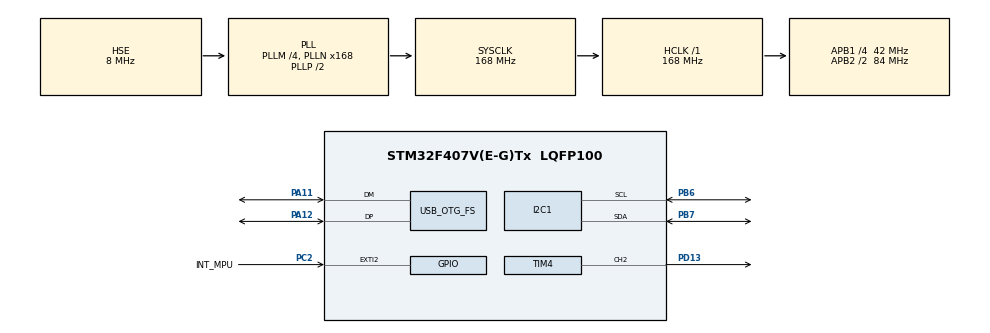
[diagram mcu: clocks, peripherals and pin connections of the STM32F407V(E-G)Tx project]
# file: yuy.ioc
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Dma.I2C1_RX.0.Direction=DMA_PERIPH_TO_MEMORY
Dma.I2C1_RX.0.FIFOMode=DMA_FIFOMODE_DISABLE
Dma.I2C1_RX.0.Instance=DMA1_Stream5
Dma.I2C1_RX.0.MemDataAlignment=DMA_MDATAALIGN_BYTE
Dma.I2C1_RX.0.MemInc=DMA_MINC_ENABLE
Dma.I2C1_RX.0.Mode=DMA_NORMAL
Dma.I2C1_RX.0.PeriphDataAlignment=DMA_PDATAALIGN_BYTE
Dma.I2C1_RX.0.PeriphInc=DMA_PINC_DISABLE
Dma.I2C1_RX.0.Priority=DMA_PRIORITY_HIGH
Dma.Request0=I2C1_RX
Mcu.Family=STM32F4
Mcu.Name=STM32F407V(E-G)Tx
Mcu.Package=LQFP100
NVIC.DMA1_Stream5_IRQn=true\:0\:0\:false\:false\:true\:false\:true\:true
NVIC.EXTI2_IRQn=true\:0\:0\:false\:false\:true\:true\:true\:true
NVIC.OTG_FS_IRQn=true\:0\:0\:false\:false\:true\:false\:true\:true
NVIC.PriorityGroup=NVIC_PRIORITYGROUP_0
PA11.Mode=Device_Only
PA11.Signal=USB_OTG_FS_DM
PA12.Mode=Device_Only
PA12.Signal=USB_OTG_FS_DP
PB6.Mode=I2C
PB6.Signal=I2C1_SCL
PB7.Mode=I2C
PB7.Signal=I2C1_SDA
PC2.GPIO_Label=INT_MPU
PC2.Signal=GPXTI2
PD13.Signal=S_TIM4_CH2
PH0-OSC_IN.Mode=HSE-External-Oscillator
PH0-OSC_IN.Signal=RCC_OSC_IN
PH1-OSC_OUT.Mode=HSE-External-Oscillator
PH1-OSC_OUT.Signal=RCC_OSC_OUT
ProjectManager.HeapSize=0x200
ProjectManager.StackSize=0x400
ProjectManager.TargetToolchain=STM32CubeIDE
RCC.48MHZClocksFreq_Value=48000000
RCC.AHBFreq_Value=168000000
RCC.APB1CLKDivider=RCC_HCLK_DIV4
RCC.APB1Freq_Value=42000000
RCC.APB1TimFreq_Value=84000000
RCC.APB2CLKDivider=RCC_HCLK_DIV2
RCC.APB2Freq_Value=84000000
RCC.APB2TimFreq_Value=168000000
RCC.CortexFreq_Value=168000000
RCC.HCLKFreq_Value=168000000
RCC.HSE_VALUE=8000000
RCC.HSI_VALUE=16000000
RCC.LSE_VALUE=32768
RCC.PLLM=4
RCC.PLLN=168
RCC.PLLQ=7
RCC.SYSCLKFreq_VALUE=168000000
RCC.SYSCLKSource=RCC_SYSCLKSOURCE_PLLCLK
RCC.VCOOutputFreq_Value=336000000
SH.S_TIM4_CH2.0=TIM4_CH2,PWM Generation2 CH2
TIM4.Channel-PWM\ Generation2\ CH2=TIM_CHANNEL_2
TIM4.Period=1000-1
TIM4.Prescaler=84-1
USB_DEVICE.CLASS_NAME_FS=CDC
USB_DEVICE.VirtualMode-CDC_FS=Cdc
USB_DEVICE.VirtualModeFS=Cdc_FS
USB_OTG_FS.VirtualMode=Device_Only
VP_TIM4_VS_ClockSourceINT.Mode=Internal
VP_USB_DEVICE_VS_USB_DEVICE_CDC_FS.Mode=CDC_FS
board=STM32F407G-DISC1

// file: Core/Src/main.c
/* USER CODE BEGIN Header */
/**
  ******************************************************************************
  * @file           : main.c
  * @brief          : Main program body
  ******************************************************************************
  * @attention
  *
  * Copyright (c) 2024 STMicroelectronics.
  * All rights reserved.
  *
  * This software is licensed under terms that can be found in the LICENSE file
  * in the root directory of this software component.
  * If no LICENSE file comes with this software, it is provided AS-IS.
  *
  ******************************************************************************
  */
/* USER CODE END Header */
#include "main.h"
#include "usb_device.h"

/* USER CODE BEGIN Includes */
#include "string.h"
#include <stdio.h>
#include <stdlib.h>
#include "usbd_cdc_if.h"
#include "mpu6050.h"
#include "filter.h"
/* USER CODE END Includes */

I2C_HandleTypeDef hi2c1;
DMA_HandleTypeDef hdma_i2c1_rx;

TIM_HandleTypeDef htim4;

/* USER CODE BEGIN PV */
LPFilter_t lpf_acc;
FIRFilter_t firAcc;
FIRFilter_t mvAvg;
MPU6050_t accelerometer;
//FIRFilter_t fir_filt;
//FIRFilter_t mv_avg;

/* USER CODE END PV */

void SystemClock_Config(void);
static void MX_GPIO_Init(void);
static void MX_DMA_Init(void);
static void MX_I2C1_Init(void);
static void MX_TIM4_Init(void);

/* USER CODE BEGIN 0 */

// Handle int pin going high (data ready / conversion complete
//void I2Cx_IRQHandler(void) {
//	HAL_I2C_EV_IRQHandler(&hi2c1);
//	HAL_I2C_ER_IRQHandler(&hi2c1);
//}

char buffer[128];

void HAL_GPIO_EXTI_Callback(uint16_t GPIO_Pin) {
		if (GPIO_Pin == INT_MPU_Pin) {
			mpu6050_read_accel_dma(&hi2c1, &accelerometer);
	}
}

// handle dma complete inturrept
void HAL_I2C_MemRxCpltCallback(I2C_HandleTypeDef *hi2c)
{
    if (hi2c->Instance == I2C1) {
    	mpu6050_read_accel_dma_complete(&hi2c1, &accelerometer);
//    	mpu6050_process_after_filter(&hi2c1, &accelerometer); // conversion to g's
    	lp_filter_update(&lpf_acc, (float)accelerometer.Accel_X_RAW);
//    	fir_filter_update(&mvAvg, accelerometer.Accel_X_RAW);
    	sprintf(buffer, "%u,%.4f\r", accelerometer.Accel_X_RAW, lpf_acc.out[0]);
    }
}

/* USER CODE END 0 */

int main(void)
{

  /* MCU Configuration--------------------------------------------------------*/

  /* Reset of all peripherals, Initializes the Flash interface and the Systick. */
  HAL_Init();

  /* USER CODE BEGIN Init */
  lp_filter_init(&lpf_acc, 5.0f, 0.01f);
  fir_filter_init(&firAcc);
  /* USER CODE END Init */

  /* Configure the system clock */
  SystemClock_Config();

  /* Initialize all configured peripherals */
  MX_GPIO_Init();
  MX_DMA_Init();
  MX_USB_DEVICE_Init();
  MX_I2C1_Init();
  MX_TIM4_Init();

  /* USER CODE BEGIN 2 */
  while (mpu6050_init(&hi2c1, &accelerometer) == 1);
  float duty_cycle = 0.0f;
  uint32_t tim4_start_time = HAL_GetTick();
  uint32_t cdc_start_time = HAL_GetTick();

  HAL_TIM_PWM_Start(&htim4, TIM_CHANNEL_2);

  /* USER CODE END 2 */

  /* Infinite loop */
  /* USER CODE BEGIN WHILE */
  while (1)
  {
	  if (HAL_GetTick() - tim4_start_time >= 10) {
		  __HAL_TIM_SET_COMPARE(&htim4, TIM_CHANNEL_2, (uint32_t)duty_cycle);
		  duty_cycle += 10.0f;
		  if (duty_cycle > 1000.0) {
			  duty_cycle = 0.0f;
		  }
		  tim4_start_time = HAL_GetTick();
	  }

	  if (HAL_GetTick() - cdc_start_time >= 10) {

		  CDC_Transmit_FS((uint8_t *)buffer, strlen(buffer));
		  cdc_start_time = HAL_GetTick();
	  }

//	  sprintf(buffer, "check result is: %u\r\n", MPU6050_Init(&hi2c1, &accelerometer));
//	  CDC_Transmit_FS((uint8_t *)buffer, strlen(buffer));

    /* USER CODE END WHILE */

  }
}

void SystemClock_Config(void)
{
  RCC_OscInitTypeDef RCC_OscInitStruct = {0};
  RCC_ClkInitTypeDef RCC_ClkInitStruct = {0};

  /** Configure the main internal regulator output voltage
  */
  __HAL_RCC_PWR_CLK_ENABLE();
  __HAL_PWR_VOLTAGESCALING_CONFIG(PWR_REGULATOR_VOLTAGE_SCALE1);

  /** Initializes the RCC Oscillators according to the specified parameters
  * in the RCC_OscInitTypeDef structure.
  */
  RCC_OscInitStruct.OscillatorType = RCC_OSCILLATORTYPE_HSE;
  RCC_OscInitStruct.HSEState = RCC_HSE_ON;
  RCC_OscInitStruct.PLL.PLLState = RCC_PLL_ON;
  RCC_OscInitStruct.PLL.PLLSource = RCC_PLLSOURCE_HSE;
  RCC_OscInitStruct.PLL.PLLM = 4;
  RCC_OscInitStruct.PLL.PLLN = 168;
  RCC_OscInitStruct.PLL.PLLP = RCC_PLLP_DIV2;
  RCC_OscInitStruct.PLL.PLLQ = 7;
  if (HAL_RCC_OscConfig(&RCC_OscInitStruct) != HAL_OK)
  {
    Error_Handler();
  }

  /** Initializes the CPU, AHB and APB buses clocks
  */
  RCC_ClkInitStruct.ClockType = RCC_CLOCKTYPE_HCLK|RCC_CLOCKTYPE_SYSCLK
                              |RCC_CLOCKTYPE_PCLK1|RCC_CLOCKTYPE_PCLK2;
  RCC_ClkInitStruct.SYSCLKSource = RCC_SYSCLKSOURCE_PLLCLK;
  RCC_ClkInitStruct.AHBCLKDivider = RCC_SYSCLK_DIV1;
  RCC_ClkInitStruct.APB1CLKDivider = RCC_HCLK_DIV4;
  RCC_ClkInitStruct.APB2CLKDivider = RCC_HCLK_DIV2;

  if (HAL_RCC_ClockConfig(&RCC_ClkInitStruct, FLASH_LATENCY_5) != HAL_OK)
  {
    Error_Handler();
  }
}

static void MX_I2C1_Init(void)
{

  hi2c1.Instance = I2C1;
  hi2c1.Init.ClockSpeed = 100000;
  hi2c1.Init.DutyCycle = I2C_DUTYCYCLE_2;
  hi2c1.Init.OwnAddress1 = 0;
  hi2c1.Init.AddressingMode = I2C_ADDRESSINGMODE_7BIT;
  hi2c1.Init.DualAddressMode = I2C_DUALADDRESS_DISABLE;
  hi2c1.Init.OwnAddress2 = 0;
  hi2c1.Init.GeneralCallMode = I2C_GENERALCALL_DISABLE;
  hi2c1.Init.NoStretchMode = I2C_NOSTRETCH_DISABLE;
  if (HAL_I2C_Init(&hi2c1) != HAL_OK)
  {
    Error_Handler();
  }

}

static void MX_TIM4_Init(void)
{

  TIM_ClockConfigTypeDef sClockSourceConfig = {0};
  TIM_MasterConfigTypeDef sMasterConfig = {0};
  TIM_OC_InitTypeDef sConfigOC = {0};

  htim4.Instance = TIM4;
  htim4.Init.Prescaler = 84-1;
  htim4.Init.CounterMode = TIM_COUNTERMODE_UP;
  htim4.Init.Period = 1000-1;
  htim4.Init.ClockDivision = TIM_CLOCKDIVISION_DIV1;
  htim4.Init.AutoReloadPreload = TIM_AUTORELOAD_PRELOAD_DISABLE;
  if (HAL_TIM_Base_Init(&htim4) != HAL_OK)
  {
    Error_Handler();
  }
  sClockSourceConfig.ClockSource = TIM_CLOCKSOURCE_INTERNAL;
  if (HAL_TIM_ConfigClockSource(&htim4, &sClockSourceConfig) != HAL_OK)
  {
    Error_Handler();
  }
  if (HAL_TIM_PWM_Init(&htim4) != HAL_OK)
  {
    Error_Handler();
  }
  sMasterConfig.MasterOutputTrigger = TIM_TRGO_RESET;
  sMasterConfig.MasterSlaveMode = TIM_MASTERSLAVEMODE_DISABLE;
  if (HAL_TIMEx_MasterConfigSynchronization(&htim4, &sMasterConfig) != HAL_OK)
  {
    Error_Handler();
  }
  sConfigOC.OCMode = TIM_OCMODE_PWM1;
  sConfigOC.Pulse = 0;
  sConfigOC.OCPolarity = TIM_OCPOLARITY_HIGH;
  sConfigOC.OCFastMode = TIM_OCFAST_DISABLE;
  if (HAL_TIM_PWM_ConfigChannel(&htim4, &sConfigOC, TIM_CHANNEL_2) != HAL_OK)
  {
    Error_Handler();
  }
  HAL_TIM_MspPostInit(&htim4);

}

static void MX_DMA_Init(void)
{

  /* DMA controller clock enable */
  __HAL_RCC_DMA1_CLK_ENABLE();

  /* DMA interrupt init */
  /* DMA1_Stream5_IRQn interrupt configuration */
  HAL_NVIC_SetPriority(DMA1_Stream5_IRQn, 0, 0);
  HAL_NVIC_EnableIRQ(DMA1_Stream5_IRQn);

}

static void MX_GPIO_Init(void)
{
  GPIO_InitTypeDef GPIO_InitStruct = {0};

  /* GPIO Ports Clock Enable */
  __HAL_RCC_GPIOH_CLK_ENABLE();
  __HAL_RCC_GPIOC_CLK_ENABLE();
  __HAL_RCC_GPIOD_CLK_ENABLE();
  __HAL_RCC_GPIOA_CLK_ENABLE();
  __HAL_RCC_GPIOB_CLK_ENABLE();

  /*Configure GPIO pin : INT_MPU_Pin */
  GPIO_InitStruct.Pin = INT_MPU_Pin;
  GPIO_InitStruct.Mode = GPIO_MODE_IT_RISING;
  GPIO_InitStruct.Pull = GPIO_NOPULL;
  HAL_GPIO_Init(INT_MPU_GPIO_Port, &GPIO_InitStruct);

  /* EXTI interrupt init*/
  HAL_NVIC_SetPriority(EXTI2_IRQn, 0, 0);
  HAL_NVIC_EnableIRQ(EXTI2_IRQn);

}

void Error_Handler(void)
{
  __disable_irq();
  while (1)
  {
  }
}
